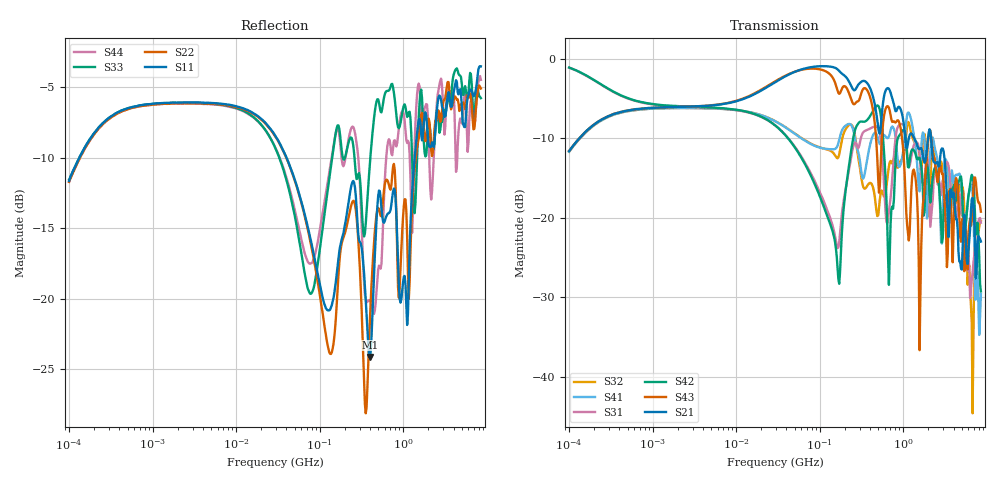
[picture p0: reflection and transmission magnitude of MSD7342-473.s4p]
# MHz S MA R 50
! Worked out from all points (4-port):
!   498 points, 100 kHz to 8.5 GHz, reference 50 ohm
!   strongest paths, dB at 100 kHz, 1.698 MHz, 29.49 MHz, 500.7 MHz, 8.5 GHz:
!     S21: -11.6, -6.1, -2.9, -8.6, -23.0
!     S43: -11.6, -6.1, -2.8, -15.0, -19.2
!     S42: -1.1, -5.9, -8.4, -5.9, -29.3
!     S31: -1.1, -6.0, -8.4, -8.7, -20.6
!     S41: -11.7, -6.2, -7.9, -10.1, -29.6
!     S32: -11.7, -6.2, -7.9, -19.7, -20.4
!   lowest |S11| = -24.1 dB at 398.4 MHz (marker M1), VSWR 1.13, Z = 44.8 + j2.74 ohm
!   |S11| at or under -10 dB: start of sweep to 132.8 kHz; 40.07 MHz to 1.372 GHz (1.332 GHz wide, 189 % of centre)
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0.1  0.2615 56.9  0.2623 57.8  0.8798 -14.7  0.2603 -122.7
     0.2623 57.8  0.2594 57.1  0.2602 -122.7  0.8814 -14.6
     0.8798 -14.7  0.2602 -122.7  0.2643 57.1  0.2636 57.7
     0.2603 -122.7  0.8814 -14.6  0.2636 57.7  0.2602 57.0
167.2873  0.1382 -9.4  0.849 -41.4  0.06488 -166.3  0.2948 46.1
          0.849 -41.4  0.12 4.8  0.2399 35.8  0.0409 148.2
          0.06488 -166.3  0.2399 35.8  0.4114 -3.6  0.6104 -52.9
          0.2948 46.1  0.0409 148.2  0.6104 -52.9  0.3971 -21.1
398.4376  0.0621 150.6  0.6585 -89.7  0.3633 -17.8  0.2846 -13.8
          0.6585 -89.7  0.08355 65.1  0.1656 -47.0  0.4339 -15.0
          0.3633 -17.8  0.1656 -47.0  0.3007 -4.1  0.5798 -109.9
          0.2846 -13.8  0.4339 -15.0  0.5798 -109.9  0.0987 -57.9
1498.389  0.4108 -155.0  0.2774 121.8  0.2918 143.3  0.1843 121.4
          0.2774 121.8  0.3572 -155.4  0.2777 142.8  0.2327 129.7
          0.2918 143.3  0.2777 142.8  0.3813 174.2  0.09721 94.0
          0.1843 121.4  0.2327 129.7  0.09721 94.0  0.5643 173.7
2840.13  0.5051 -6.9  0.2674 -48.3  0.1386 -24.4  0.07044 -60.0
         0.2674 -48.3  0.4307 1.8  0.2253 -41.5  0.09034 -79.5
         0.1386 -24.4  0.2253 -41.5  0.4234 -20.9  0.198 -55.1
         0.07044 -60.0  0.09034 -79.5  0.198 -55.1  0.6026 -27.2
4187.455  0.5745 -170.0  0.109 115.7  0.1199 121.7  0.1843 139.2
          0.109 115.7  0.5207 -177.4  0.1211 121.1  0.1542 121.3
          0.1199 121.7  0.1211 121.1  0.646 -177.3  0.1628 -160.0
          0.1843 139.2  0.1542 121.3  0.1628 -160.0  0.36 151.9
8500  0.6662 -53.1  0.0707 45.7  0.0929 -30.7  0.03298 31.3
      0.0707 45.7  0.5559 -69.5  0.09502 -39.6  0.03432 -83.1
      0.0929 -30.7  0.09502 -39.6  0.5139 -59.3  0.1091 0.6
      0.03298 31.3  0.03432 -83.1  0.1091 0.6  0.5967 -81.5
